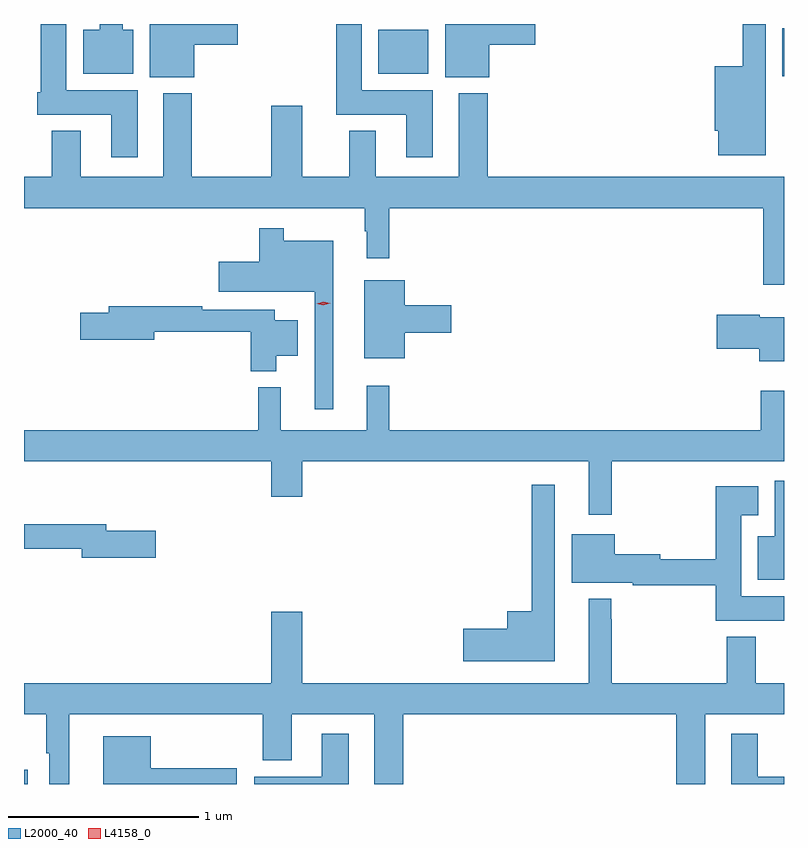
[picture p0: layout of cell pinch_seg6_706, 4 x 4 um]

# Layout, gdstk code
import gdstk
lib = gdstk.Library(unit=1e-6, precision=1e-09)
def R(c, l, rs):  # rectangles x0, y0, x1, y1
    for r in rs: c.add(gdstk.rectangle(r[:2], r[2:], *l))
def P(c, l, *ps):  # polygons
    for p in ps: c.add(gdstk.Polygon(p, *l))
L2000_40 = (2000, 40)
L4158_0 = (4158, 0)

pinch_seg6_706 = lib.new_cell('pinch_seg6_706')
R(pinch_seg6_706, L2000_40, [(619.251,940.309,619.27,940.384), (623.243,944.033,623.251,944.287), (621.116,944.048,621.379,944.278)])
P(pinch_seg6_706, L2000_40, [(621.403,943.96),(621.028,943.96),(621.028,944.309),(620.894,944.309),(620.894,943.832),(621.263,943.832),(621.263,943.608),(621.403,943.608)],
  [(621.7,944.201),(621.943,944.201),(621.943,944.309),(621.467,944.309),(621.467,944.03),(621.7,944.03)],
  [(619.849,943.96),(619.474,943.96),(619.474,944.309),(619.34,944.309),(619.34,943.95),(619.322,943.95),(619.322,943.832),(619.709,943.832),(619.709,943.608),(619.849,943.608)],
  [(620.146,944.201),(620.377,944.201),(620.377,944.309),(619.913,944.309),(619.913,944.03),(620.146,944.03)],
  [(619.825,944.278),(619.771,944.278),(619.771,944.309),(619.649,944.309),(619.649,944.278),(619.562,944.278),(619.562,944.048),(619.825,944.048)],
  [(623.155,944.309),(623.034,944.309),(623.034,944.086),(622.886,944.086),(622.886,943.746),(622.904,943.746),(622.904,943.619),(623.155,943.619)],
  [(623.251,943.504),(621.692,943.504),(621.692,943.945),(621.539,943.945),(621.539,943.504),(621.103,943.504),(621.103,943.747),(620.963,943.747),(620.963,943.504),(620.716,943.504),(620.716,943.879),(620.552,943.879),(620.552,943.504),(620.133,943.504),(620.133,943.945),(619.985,943.945),(619.985,943.504),(619.549,943.504),(619.549,943.747),(619.397,943.747),(619.397,943.504),(619.251,943.504),(619.251,943.34),(621.045,943.34),(621.045,943.217),(621.056,943.217),(621.056,943.077),(621.173,943.077),(621.173,943.34),(623.143,943.34),(623.143,942.936),(623.251,942.936)],
  [(620.878,943.168),(620.617,943.168),(620.617,943.234),(620.488,943.234),(620.488,943.057),(620.277,943.057),(620.277,942.899),(620.781,942.899),(620.781,942.282),(620.878,942.282)],
  [(621.256,942.683),(621.499,942.683),(621.499,942.83),(621.256,942.83),(621.256,942.961),(621.041,942.961),(621.041,942.551),(621.256,942.551)],
  [(620.578,942.563),(620.692,942.563),(620.692,942.751),(620.572,942.751),(620.572,942.804),(620.189,942.804),(620.189,942.824),(619.697,942.824),(619.697,942.788),(619.548,942.788),(619.548,942.646),(619.936,942.646),(619.936,942.688),(620.444,942.688),(620.444,942.482),(620.578,942.482)],
  [(623.251,942.766),(623.124,942.766),(623.124,942.779),(622.896,942.779),(622.896,942.601),(623.12,942.601),(623.12,942.533),(623.251,942.533)],
  [(623.251,942.379),(623.129,942.379),(623.129,942.172),(621.173,942.172),(621.173,942.406),(621.056,942.406),(621.056,942.172),(620.603,942.172),(620.603,942.397),(620.485,942.397),(620.485,942.172),(619.251,942.172),(619.251,942.008),(620.552,942.008),(620.552,941.82),(620.716,941.82),(620.716,942.008),(622.223,942.008),(622.223,941.727),(622.345,941.727),(622.345,942.008),(623.251,942.008)],
  [(623.251,941.905),(623.201,941.905),(623.201,941.614),(623.114,941.614),(623.114,941.384),(623.251,941.384)],
  [(622.045,941.884),(621.924,941.884),(621.924,941.218),(621.794,941.218),(621.794,941.126),(621.564,941.126),(621.564,940.955),(622.045,940.955)],
  [(623.251,941.296),(623.026,941.296),(623.026,941.723),(623.116,941.723),(623.116,941.875),(622.892,941.875),(622.892,941.492),(622.6,941.492),(622.6,941.517),(622.36,941.517),(622.36,941.623),(622.133,941.623),(622.133,941.369),(622.456,941.369),(622.456,941.356),(622.892,941.356),(622.892,941.168),(623.251,941.168)],
  [(619.945,941.643),(619.684,941.643),(619.684,941.677),(619.251,941.677),(619.251,941.548),(619.556,941.548),(619.556,941.501),(619.945,941.501)],
  [(621.095,940.309),(621.248,940.309),(621.248,940.676),(622.685,940.676),(622.685,940.309),(622.837,940.309),(622.837,940.676),(623.251,940.676),(623.251,940.84),(623.101,940.84),(623.101,941.083),(622.949,941.083),(622.949,940.84),(622.345,940.84),(622.345,941.177),(622.343,941.177),(622.343,941.284),(622.223,941.284),(622.223,940.84),(620.716,940.84),(620.716,941.215),(620.552,941.215),(620.552,940.84),(619.251,940.84),(619.251,940.676),(619.368,940.676),(619.368,940.471),(619.385,940.471),(619.385,940.309),(619.489,940.309),(619.489,940.676),(620.507,940.676),(620.507,940.433),(620.659,940.433),(620.659,940.676),(621.095,940.676)],
  [(623.251,940.348),(623.113,940.348),(623.113,940.573),(622.973,940.573),(622.973,940.309),(623.251,940.309)],
  [(620.959,940.573),(620.819,940.573),(620.819,940.348),(620.462,940.348),(620.462,940.309),(620.959,940.309)],
  [(620.371,940.393),(619.918,940.393),(619.918,940.561),(619.667,940.561),(619.667,940.309),(620.371,940.309)])
P(pinch_seg6_706, L4158_0, [(620.827,942.828),(620.791,942.836),(620.791,942.836),(620.791,942.836),(620.826,942.848),(620.862,942.839),(620.862,942.839),(620.862,942.839)])

lib.write_gds('pinch_seg6_706.gds')
